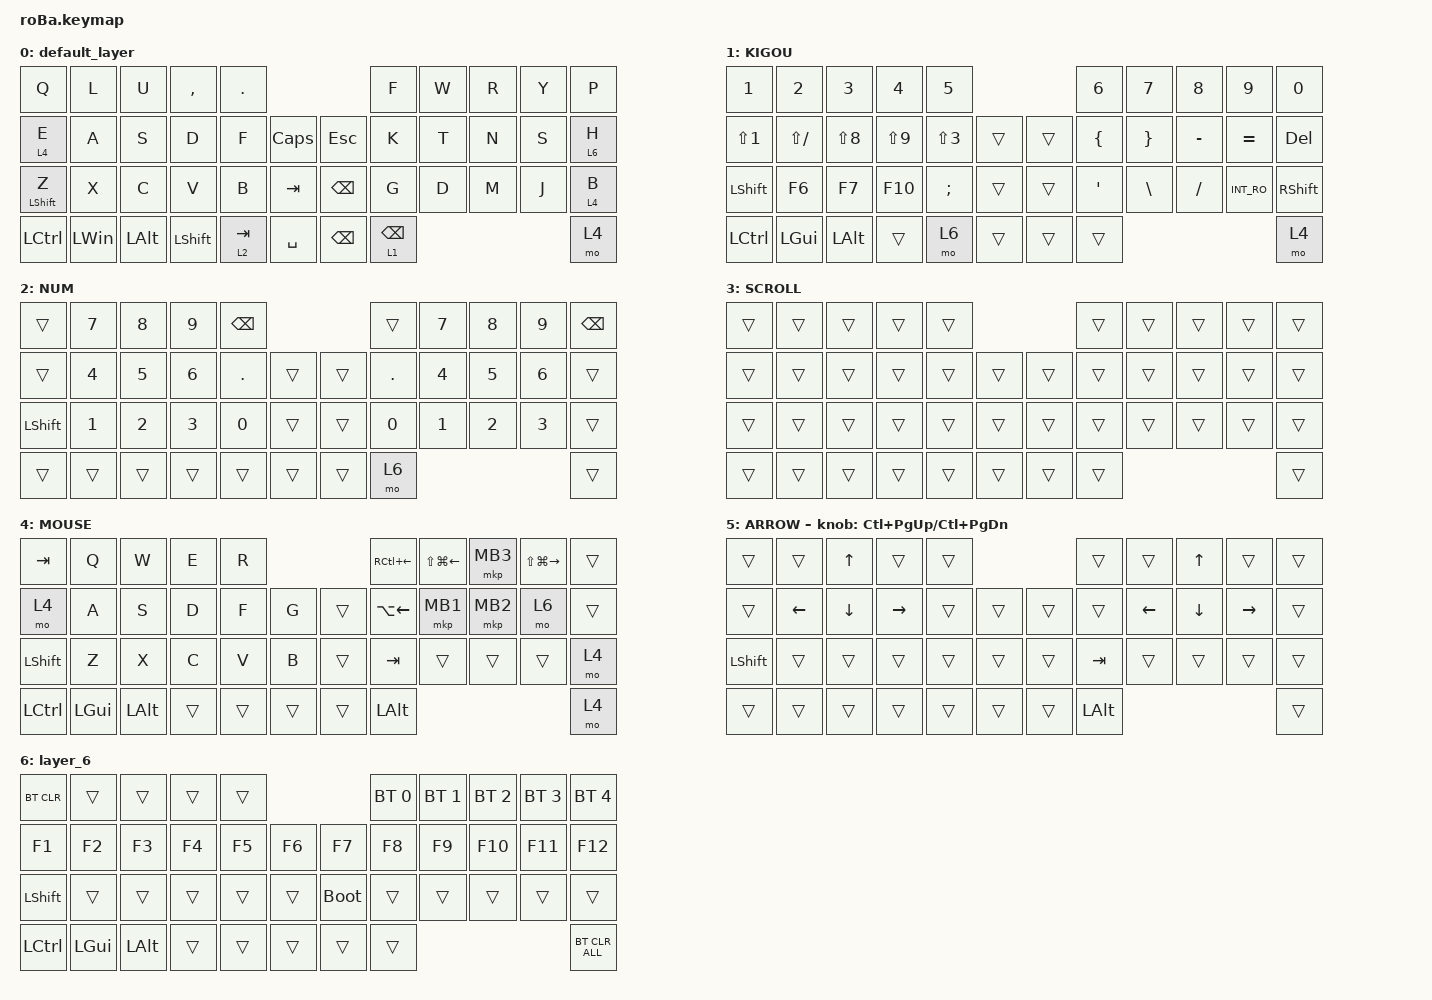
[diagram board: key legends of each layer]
#include <behaviors.dtsi>
#include <dt-bindings/zmk/bt.h>
#include <dt-bindings/zmk/keys.h>
#include <dt-bindings/zmk/pointing.h>

&mt {
    flavor = "balanced";
    quick-tap-ms = <0>;
};

&trackball {
    automouse-layer = <4>;
    scroll-layers = <5>;

    // arrows {
    //     layers = <3>;
    //     bindings =
    //         <&kp RIGHT_ARROW>,
    //         <&kp LEFT_ARROW>,
    //         <&kp UP_ARROW>,
    //         <&kp DOWN_ARROW>;
    //     tick = <10>;
    //     wait-ms = <5>;
    //     tap-ms = <5>;
    // };
};

/ {
    combos { compatible = "zmk,combos"; };

    behaviors {
        lt_to_layer_0: lt_to_layer_0 {
            compatible = "zmk,behavior-hold-tap";
            label = "LAYER_TAP_TO_0";
            bindings = <&mo>, <&to_layer_0>;

            #binding-cells = <2>;
            tapping-term-ms = <200>;
        };
    };

    keymap {
        compatible = "zmk,keymap";

        default_layer {
            bindings = <
&kp Q             &kp L         &kp U         &kp COMMA       &kp DOT                                  &kp F            &kp W  &kp R  &kp Y  &kp P
&lt 4 E           &kp A         &kp S         &kp D           &kp F      &kp CAPS       &kp ESC        &kp K            &kp T  &kp N  &kp S  &lt 6 H
&mt LEFT_SHIFT Z  &kp X         &kp C         &kp V           &kp B      &kp TAB        &kp BSPC       &kp G            &kp D  &kp M  &kp J  &lt 4 B
&kp LCTRL         &kp LEFT_WIN  &kp LEFT_ALT  &kp LEFT_SHIFT  &lt 2 TAB  &kp SPACE      &kp BACKSPACE  &lt 1 BACKSPACE                       &mo 4
            >;
        };

        KIGOU {
            bindings = <
&kp N1            &kp N2         &kp N3      &kp N4      &kp N5                                &kp N6          &kp N7           &kp N8     &kp N9      &kp N0
&kp LS(NUMBER_1)  &kp LS(SLASH)  &kp LS(N8)  &kp LS(N9)  &kp LS(NUMBER_3)  &trans      &trans  &kp LEFT_BRACE  &kp RIGHT_BRACE  &kp MINUS  &kp EQUAL   &kp DELETE
&kp LEFT_SHIFT    &kp F6         &kp F7      &kp F10     &kp SEMICOLON     &trans      &trans  &kp SQT         &kp BACKSLASH    &kp SLASH  &kp INT_RO  &kp RIGHT_SHIFT
&kp LCTRL         &kp LGUI       &kp LALT    &trans      &mo 6             &trans      &trans  &trans                                                  &mo 4
            >;
        };

        NUM {
            bindings = <
&trans          &kp N7  &kp N8  &kp N9  &kp BSPC                      &trans   &kp N7  &kp N8  &kp N9  &kp BACKSPACE
&trans          &kp N4  &kp N5  &kp N6  &kp DOT   &trans      &trans  &kp DOT  &kp N4  &kp N5  &kp N6  &trans
&kp LEFT_SHIFT  &kp N1  &kp N2  &kp N3  &kp N0    &trans      &trans  &kp N0   &kp N1  &kp N2  &kp N3  &trans
&trans          &trans  &trans  &trans  &trans    &trans      &trans  &mo 6                            &trans
            >;
        };

        SCROLL {
            bindings = <
&trans  &trans  &trans  &trans  &trans                      &trans  &trans  &trans  &trans  &trans
&trans  &trans  &trans  &trans  &trans  &trans      &trans  &trans  &trans  &trans  &trans  &trans
&trans  &trans  &trans  &trans  &trans  &trans      &trans  &trans  &trans  &trans  &trans  &trans
&trans  &trans  &trans  &trans  &trans  &trans      &trans  &trans                          &trans
            >;
        };

        MOUSE {
            bindings = <
&kp TAB    &kp Q     &kp W     &kp E   &kp R                       &kp RC(LEFT_ARROW)  &kp LS(LG(LEFT_ARROW))  &mkp MB3  &kp LS(LG(RIGHT_ARROW))  &trans
&mo 4      &kp A     &kp S     &kp D   &kp F   &kp G       &trans  &kp LA(LEFT_ARROW)  &mkp MB1                &mkp MB2  &mo 6                    &trans
&kp LSHFT  &kp Z     &kp X     &kp C   &kp V   &kp B       &trans  &kp TAB             &trans                  &trans    &trans                   &mo 4
&kp LCTRL  &kp LGUI  &kp LALT  &trans  &trans  &trans      &trans  &kp LALT                                                                       &mo 4
            >;
        };

        ARROW {
            bindings = <
&trans          &trans          &kp UP_ARROW    &trans           &trans                      &trans    &trans          &kp UP_ARROW    &trans           &trans
&trans          &kp LEFT_ARROW  &kp DOWN_ARROW  &kp RIGHT_ARROW  &trans  &trans      &trans  &trans    &kp LEFT_ARROW  &kp DOWN_ARROW  &kp RIGHT_ARROW  &trans
&kp LEFT_SHIFT  &trans          &trans          &trans           &trans  &trans      &trans  &kp TAB   &trans          &trans          &trans           &trans
&trans          &trans          &trans          &trans           &trans  &trans      &trans  &kp LALT                                                   &trans
            >;

            sensor-bindings = <&inc_dec_kp LC(PAGE_UP) LC(PAGE_DOWN)>;
        };

        layer_6 {
            bindings = <
&bt BT_CLR  &trans    &trans    &trans  &trans                           &bt BT_SEL 0  &bt BT_SEL 1  &bt BT_SEL 2  &bt BT_SEL 3  &bt BT_SEL 4
&kp F1      &kp F2    &kp F3    &kp F4  &kp F5  &kp F6      &kp F7       &kp F8        &kp F9        &kp F10       &kp F11       &kp F12
&kp LSHFT   &trans    &trans    &trans  &trans  &trans      &bootloader  &trans        &trans        &trans        &trans        &trans
&kp LCTRL   &kp LGUI  &kp LALT  &trans  &trans  &trans      &trans       &trans                                                  &bt BT_CLR_ALL
            >;
        };
    };
};
